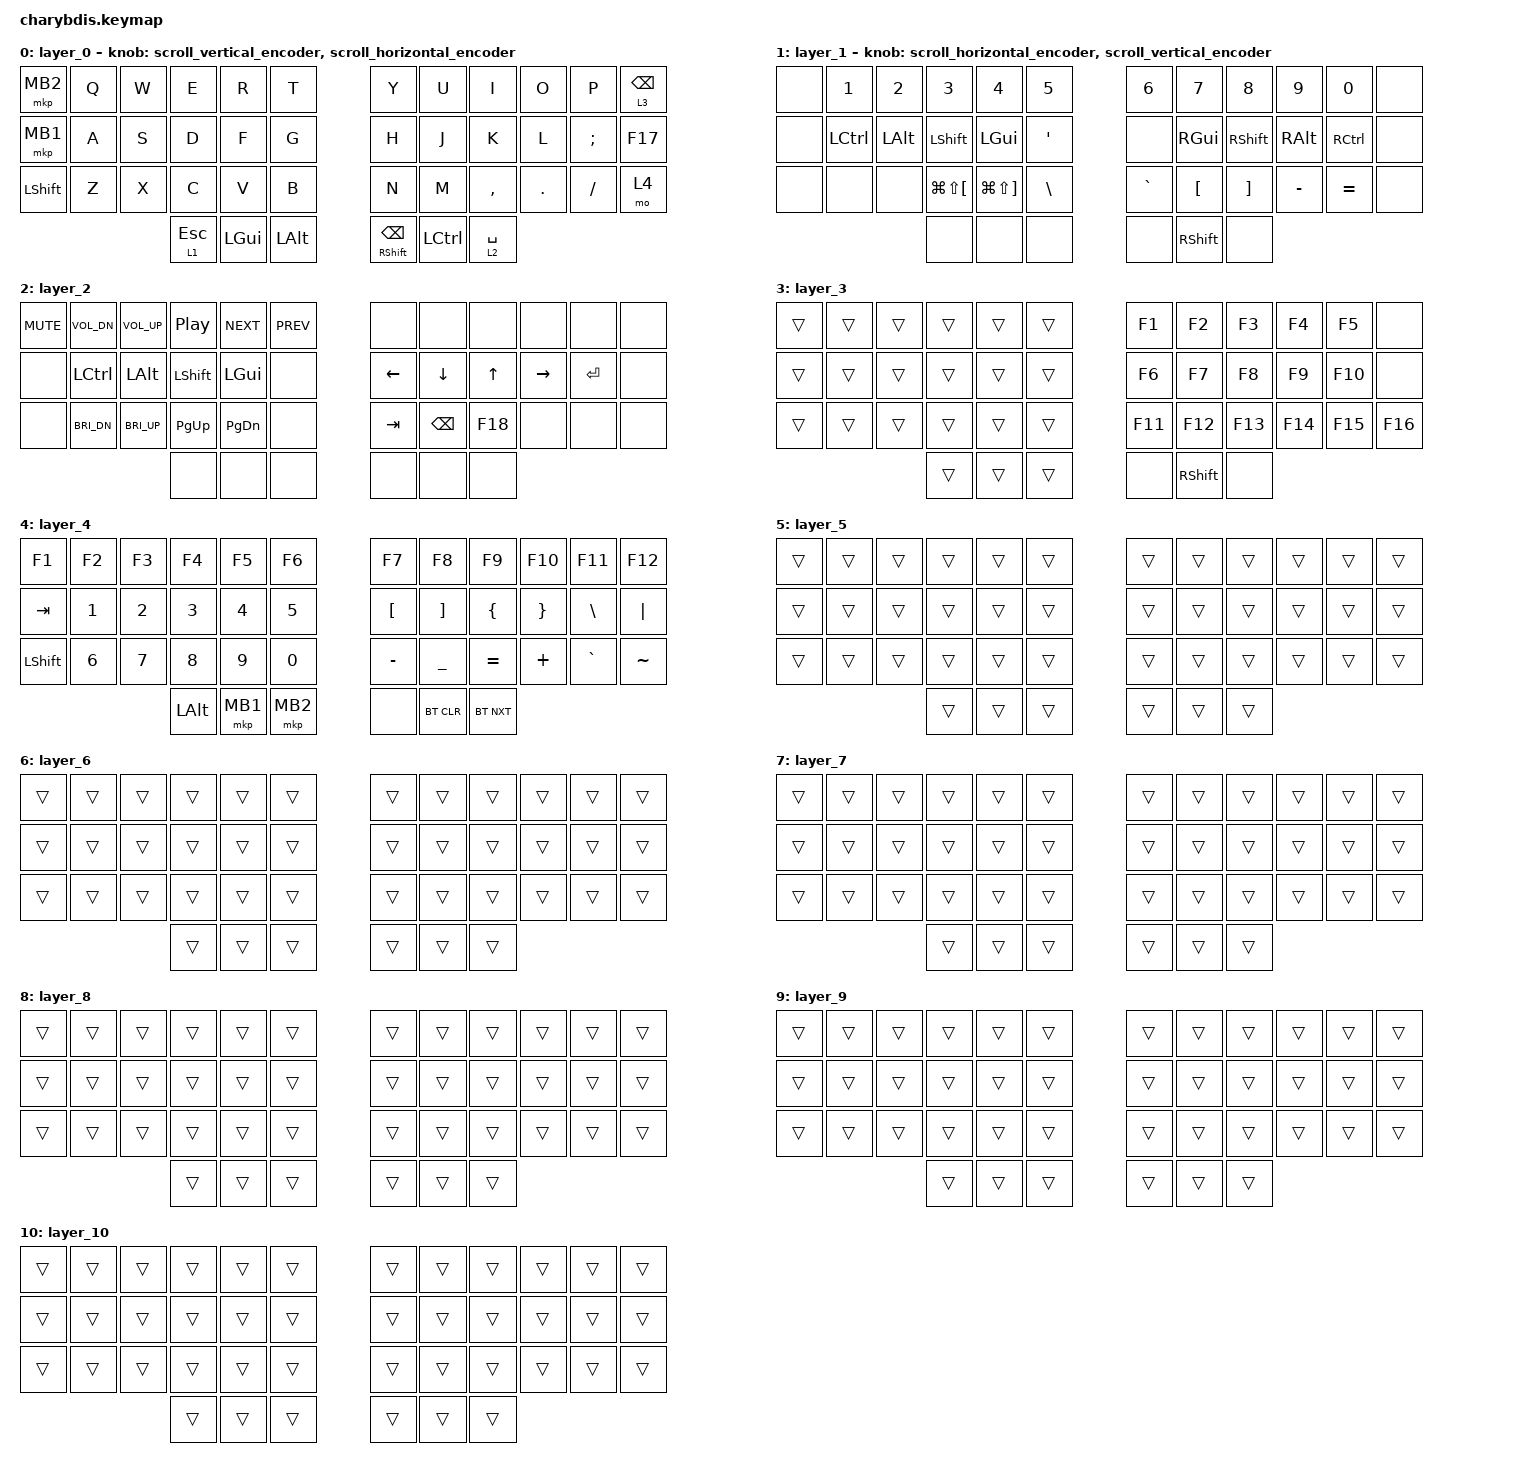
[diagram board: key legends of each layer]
#include <dt-bindings/zmk/mouse.h>
#include <input/processors.dtsi>
#include <zephyr/dt-bindings/input/input-event-codes.h>
#include <behaviors.dtsi>
#include <dt-bindings/zmk/bt.h>
#include <dt-bindings/zmk/keys.h>
#include <dt-bindings/zmk/pointing.h>
#include <dt-bindings/zmk/rgb.h>

//roll 

#define ZMK_POINTING_DEFAULT_MOVE_VAL 1000 // 600
#define ZMK_POINTING_DEFAULT_SCRL_VAL 12   // 10

&lt {
    tapping-term-ms = <200>;
    flavor = "balanced";
    quick-tap-ms = <150>;
};

&mmv_input_listener { input-processors = <&zip_xy_scaler 2 1>; };

&msc_input_listener { input-processors = <&zip_scroll_scaler 2 1>; };

&msc {
    acceleration-exponent = <0>;      // 0
    time-to-max-speed-ms = <100>;       // 300
    delay-ms = <0>;                   // 0
};

&mmv {
    time-to-max-speed-ms = <300>;
    acceleration-exponent = <1>;
    trigger-period-ms = <16>;
};

/ {
    combos {
        compatible = "zmk,combos";

        combo_df {
            timeout-ms = <50>;
            key-positions = <15 16>;
            layers = <0>;
            bindings = <&kp F19>;
        };

        combo_jk {
            timeout-ms = <50>;
            key-positions = <19 20>;
            layers = <0>;
            bindings = <&kp F20>;
        };
    };

    macros {
        To1_macro: To1_macro {
            compatible = "zmk,behavior-macro";
            label = "To1_macro";
            #binding-cells = <0>;
            bindings = <&rgb_ug RGB_EFF &rgb_ug RGB_COLOR_HSB(128,100,50) &to 1>;
        };

        To0_macro: To0_macro {
            compatible = "zmk,behavior-macro";
            label = "To0_macro";
            #binding-cells = <0>;
            bindings = <&rgb_ug RGB_EFR &to 0>;
        };

        To2_macro: To2_macro {
            compatible = "zmk,behavior-macro";
            label = "To2_macro";
            #binding-cells = <0>;
            bindings =
                <&to 0>,
                <&macro_wait_time 30>,
                <&rgb_ug RGB_COLOR_HSB(250,100,50)>;
        };
    };

    // 上下滚动编码器行为

    scroll_vertical_encoder: scroll_vertical_encoder {
        compatible = "zmk,behavior-sensor-rotate";
        #sensor-binding-cells = <0>;
        bindings = <&msc SCRL_DOWN>, <&msc SCRL_UP>;

        tap-ms = <100>;
    };

    // 左右滚动编码器行为

    scroll_horizontal_encoder: scroll_horizontal_encoder {
        compatible = "zmk,behavior-sensor-rotate";
        #sensor-binding-cells = <0>;
        bindings = <&msc SCRL_LEFT>, <&msc SCRL_RIGHT>;

        tap-ms = <100>;
    };

    behaviors {
    };

    keymap {
        compatible = "zmk,keymap";

        layer_0 {
            bindings = <
&mkp MB2        &kp Q  &kp W  &kp E      &kp R     &kp T       &kp Y     &kp U      &kp I      &kp O    &kp P     &lt 3 BSPC
&mkp MB1        &kp A  &kp S  &kp D      &kp F     &kp G       &kp H     &kp J      &kp K      &kp L    &kp SEMI  &kp F17
&kp LEFT_SHIFT  &kp Z  &kp X  &kp C      &kp V     &kp B       &kp N     &kp M      &kp COMMA  &kp DOT  &kp FSLH  &mo 4
                              &lt 1 ESC  &kp LGUI  &kp LALT     &mt RSHFT BSPC  &kp LCTRL  &lt 2 SPACE
            >;

            sensor-bindings =
                <&scroll_vertical_encoder>,
                // 编码器1：上下滚动,
                <&scroll_horizontal_encoder>;
  // 编码器2：左右滚动            
            //ec11-VOL：sensor-bindings = <&inc_dec_kp PG_UP PG_DN &inc_dec_kp C_VOL_UP C_VOL_DN>;
        };

        layer_1 {
            bindings = <
&none   &kp N1  &kp N2  &kp N3          &kp N4     &kp N5          &kp N6     &kp N7     &kp N8          &kp N9    &kp N0     &none
&none   &kp LCTRL  &kp LALT  &kp LSHFT  &kp LGUI   &kp APOS        &none      &kp RGUI   &kp RSHFT       &kp RALT  &kp RCTRL  &none
&none   &none   &none   &kp LG(LS(LBKT))  &kp LG(LS(RBKT))  &kp BACKSLASH    &kp GRAVE  &kp LBKT        &kp RBKT         &kp MINUS  &kp EQUAL  &none
                        &none  &none     &none          &none      &kp RSHFT  &none
            >;

            sensor-bindings =
                <&scroll_horizontal_encoder>,
                // 编码器1：左右滚动    ,
                <&scroll_vertical_encoder>;
  // 编码器2：上下滚动
        };

        layer_2 {
            bindings = <
&kp C_MUTE   &kp C_VOL_DN  &kp C_VOL_UP  &kp C_PP    &kp C_NEXT    &kp C_PREV    &none      &none    &none    &none      &none    &none
&none      &kp LCTRL     &kp LALT      &kp LSHFT   &kp LGUI      &none         &kp LEFT   &kp DOWN &kp UP   &kp RIGHT    &kp RET  &none
&none   &kp C_BRI_DN &kp C_BRI_UP    &kp PG_UP     &kp PG_DN   &none         &kp TAB    &kp BSPC &kp F18  &none      &none    &none
                        &none     &none         &none       &none         &none      &none
            >;
        };

        layer_3 {
            bindings = <
&trans  &trans  &trans  &trans  &trans  &trans    &kp F1   &kp F2   &kp F3   &kp F4   &kp F5   &none
&trans  &trans  &trans  &trans  &trans  &trans    &kp F6   &kp F7   &kp F8   &kp F9   &kp F10  &none
&trans  &trans  &trans  &trans  &trans  &trans    &kp F11  &kp F12  &kp F13  &kp F14  &kp F15  &kp F16
                        &trans  &trans  &trans    &none    &kp RSHFT  &none
            >;
        };

        layer_4 {
            bindings = <
&kp F1     &kp F2  &kp F3  &kp F4    &kp F5    &kp F6      &kp F7     &kp F8          &kp F9          &kp F10          &kp F11        &kp F12
&kp TAB    &kp N1  &kp N2  &kp N3    &kp N4    &kp N5      &kp LBKT   &kp RBKT        &kp LEFT_BRACE  &kp RIGHT_BRACE  &kp BACKSLASH  &kp PIPE
&kp LSHFT  &kp N6  &kp N7  &kp N8    &kp N9    &kp N0      &kp MINUS  &kp UNDERSCORE  &kp EQUAL       &kp PLUS         &kp GRAVE      &kp TILDE
                           &kp LALT  &mkp MB1  &mkp MB2    &none      &bt BT_CLR      &bt BT_NXT
            >;
        };

        layer_5 {
            bindings = <
&trans  &trans  &trans  &trans  &trans  &trans    &trans  &trans  &trans  &trans  &trans  &trans
&trans  &trans  &trans  &trans  &trans  &trans    &trans  &trans  &trans  &trans  &trans  &trans
&trans  &trans  &trans  &trans  &trans  &trans    &trans  &trans  &trans  &trans  &trans  &trans
                        &trans  &trans  &trans    &trans  &trans  &trans
            >;
        };

        layer_6 {
            bindings = <
&trans  &trans  &trans  &trans  &trans  &trans    &trans  &trans  &trans  &trans  &trans  &trans
&trans  &trans  &trans  &trans  &trans  &trans    &trans  &trans  &trans  &trans  &trans  &trans
&trans  &trans  &trans  &trans  &trans  &trans    &trans  &trans  &trans  &trans  &trans  &trans
                        &trans  &trans  &trans    &trans  &trans  &trans
            >;
        };

        layer_7 {
            bindings = <
&trans  &trans  &trans  &trans  &trans  &trans    &trans  &trans  &trans  &trans  &trans  &trans
&trans  &trans  &trans  &trans  &trans  &trans    &trans  &trans  &trans  &trans  &trans  &trans
&trans  &trans  &trans  &trans  &trans  &trans    &trans  &trans  &trans  &trans  &trans  &trans
                        &trans  &trans  &trans    &trans  &trans  &trans
            >;
        };

        layer_8 {
            bindings = <
&trans  &trans  &trans  &trans  &trans  &trans    &trans  &trans  &trans  &trans  &trans  &trans
&trans  &trans  &trans  &trans  &trans  &trans    &trans  &trans  &trans  &trans  &trans  &trans
&trans  &trans  &trans  &trans  &trans  &trans    &trans  &trans  &trans  &trans  &trans  &trans
                        &trans  &trans  &trans    &trans  &trans  &trans
            >;
        };

        layer_9 {
            bindings = <
&trans  &trans  &trans  &trans  &trans  &trans    &trans  &trans  &trans  &trans  &trans  &trans
&trans  &trans  &trans  &trans  &trans  &trans    &trans  &trans  &trans  &trans  &trans  &trans
&trans  &trans  &trans  &trans  &trans  &trans    &trans  &trans  &trans  &trans  &trans  &trans
                        &trans  &trans  &trans    &trans  &trans  &trans
            >;
        };

        layer_10 {
            bindings = <
&trans  &trans  &trans  &trans  &trans  &trans    &trans  &trans  &trans  &trans  &trans  &trans
&trans  &trans  &trans  &trans  &trans  &trans    &trans  &trans  &trans  &trans  &trans  &trans
&trans  &trans  &trans  &trans  &trans  &trans    &trans  &trans  &trans  &trans  &trans  &trans
                        &trans  &trans  &trans    &trans  &trans  &trans
            >;
        };

        /* layer_2 {
            bindings = <
&none  &none   &none    &none   &none         &none         &kp N1         &none         &none     &none  &none   &to 0
&none  &none   &none    &none   &none         &none         &none         &none          &rgb_ug RGB_BRD &rgb_ug RGB_BRI  &rgb_ug RGB_EFF   &rgb_ug RGB_TOG
&none  &none   &none    &none   &none         &none         &none         &mkp LCLK     &mkp RCLK  &none  &none   &none
&none  &none   &none    &none   &bt BT_NXT  &bt BT_CLR    &none         &none         &none     &none  &none   &none
                                   &none         &none         &none         &none         &none
                                                 &none         &none         &none
            >;
       
            
        };

       Mouse {
            bindings = <
&none        &none         &none         &none         &none      &none         &none       &none      &none         &none         &none         &none
&none        &bt BT_SEL 0  &bt BT_SEL 1  &bt BT_SEL 3  &none      &bt BT_CLR    &bt BT_CLR  &none      &bt BT_SEL 2  &bt BT_SEL 1  &bt BT_SEL 0  &none
&none        &trans        &trans        &mkp MCLK     &trans     &none         &none       &trans     &mkp MCLK     &trans        &trans        &none
&bootloader  &trans        &mkp RCLK     &mo 4         &mkp LCLK  &mo 5         &mo 5       &mkp LCLK  &mo 4         &mkp RCLK     &trans        &bootloader
                                         &mo 5         &mkp LCLK  &mkp RCLK     &mkp RCLK   &mkp LCLK
                                                       &none      &trans        &trans
            >;

            
        };

        layer_4 {
            bindings = <
&trans  &trans  &trans     &trans     &trans     &trans       &trans     &trans     &trans     &trans     &trans  &trans
&trans  &trans  &trans     &trans     &trans     &trans       &trans     &trans     &trans     &trans     &trans  &trans
&trans  &trans  &trans     &mkp MCLK  &trans     &trans       &trans     &trans     &mkp MCLK  &trans     &trans  &trans
&trans  &trans  &mkp RCLK  &trans     &mkp LCLK  &trans       &trans     &mkp LCLK  &trans     &mkp RCLK  &trans  &trans
                           &trans     &mkp LCLK  &mkp RCLK    &mkp RCLK  &mkp LCLK
                                      &trans     &trans       &trans
            >;
                
                
               
        };

        layer_5 {
            bindings = <
&trans  &trans  &trans     &trans     &trans     &trans       &trans     &trans     &trans     &trans     &trans  &trans
&trans  &trans  &trans     &trans     &trans     &trans       &trans     &trans     &trans     &trans     &trans  &trans
&trans  &trans  &trans     &mkp MCLK  &trans     &trans       &trans     &trans     &mkp MCLK  &trans     &trans  &trans
&trans  &trans  &mkp RCLK  &trans     &mkp LCLK  &trans       &trans     &mkp LCLK  &trans     &mkp RCLK  &trans  &trans
                           &trans     &mkp LCLK  &mkp RCLK    &mkp RCLK  &mkp LCLK
                                      &trans     &trans       &trans
            >;
                
                
        };*/
    };
};
